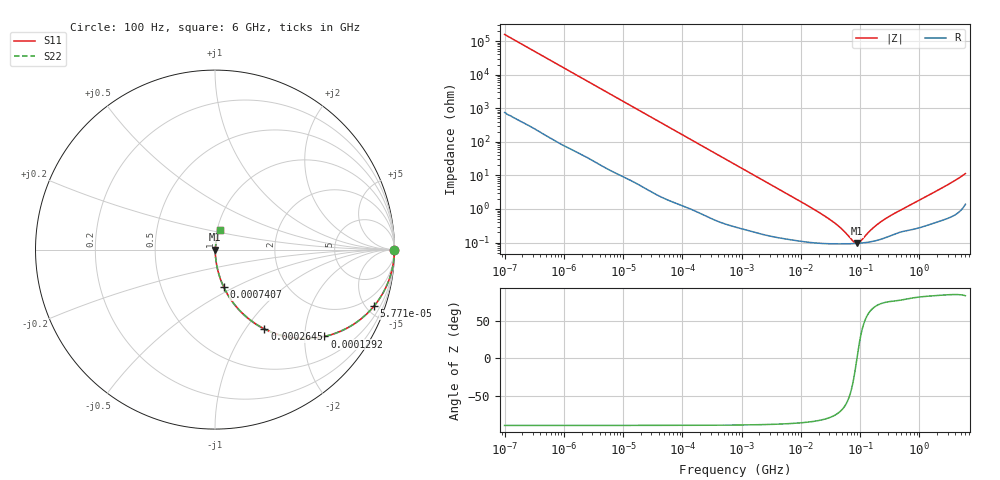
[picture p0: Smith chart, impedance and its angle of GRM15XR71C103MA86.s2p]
!Murata Part Number: GRM15XR71C103MA86
!These Parameters are Measured in Series Mode Connection
!Data Generated on Mar 30, 2021
!  o--ll--o
!Port1  Port2
!  o------o
!Operation Temp=25[degC], DC Bias Voltage=0[V]
!Freq. Start=100[Hz] Stop=6[GHz] 401[Steps]
# Hz S RI R 50
!Freq.(Hz) S11(Real) S11(Imag) S21(Real) S21(Imag) S12(Real) S12(Imag) S22(Real) S22(Imag)
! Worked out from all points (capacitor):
!   401 points, 100 Hz to 6 GHz, reference 50 ohm
!   read as one part in series: C = 10.1 nF near 109 Hz
!   lowest |Z| = 94.3 mohm at 89.18 MHz (marker M1)
!   series resonance near 88.74 MHz, so ESL is about 320 pH
!   S11 on the Smith chart (normalised r, x): 100 Hz: open; 57.71 kHz: 1.04, -5.59; 129.2 kHz: 1.02, -2.50; 264.5 kHz: 1.01, -1.23; 740.7 kHz: 1.01, -0.44; 6 GHz: 1.03, +0.23
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100  1 -0.000633  3.4e-06 0.000633  3.4e-06 0.000633  1 -0.000633
2008  0.9998 -0.0126  0.000225 0.0126  0.000225 0.0126  0.9998 -0.0126
12041  0.994 -0.0746  0.00604 0.0746  0.00604 0.0746  0.994 -0.0746
40335  0.9397 -0.235  0.0603 0.235  0.0603 0.235  0.9397 -0.235
57709  0.8848 -0.316  0.1152 0.316  0.1152 0.316  0.8848 -0.316
86348  0.7758 -0.4134  0.2242 0.4134  0.2242 0.4134  0.7758 -0.4134
129199  0.6096 -0.4837  0.3904 0.4837  0.3904 0.4837  0.6096 -0.4837
184852  0.4352 -0.4913  0.5648 0.4913  0.5648 0.4913  0.4352 -0.4913
264476  0.2757 -0.4421  0.7243 0.4421  0.7243 0.4421  0.2757 -0.4421
432798  0.1265 -0.3271  0.8735 0.3271  0.8735 0.3271  0.1265 -0.3271
740679  0.0488 -0.2089  0.9512 0.2089  0.9512 0.2089  0.0488 -0.2089
774597  0.045 -0.2006  0.955 0.2006  0.955 0.2006  0.045 -0.2006
2481164  0.00603 -0.0658  0.994 0.0658  0.994 0.0658  0.00603 -0.0658
1.555665e7  0.0011 -0.0104  0.9989 0.0104  0.9989 0.0104  0.0011 -0.0104
3.80911e7  0.000923 -0.00359  0.9991 0.00359  0.9991 0.00359  0.000923 -0.00359
7.797396e7  0.000929 -0.00049  0.9991 0.00049  0.9991 0.00049  0.000929 -0.00049
8.918374e7  0.000941 1.92e-05  0.9991 -1.92e-05  0.9991 -1.92e-05  0.000941 1.92e-05
1.020051e8  0.000959 0.000527  0.999 -0.000527  0.999 -0.000527  0.000959 0.000527
1.825626e8  0.00114 0.00293  0.9989 -0.00293  0.9989 -0.00293  0.00114 0.00293
3.124326e8  0.00158 0.00583  0.9984 -0.00583  0.9984 -0.00583  0.00158 0.00583
2.048624e9  0.00537 0.0354  0.9946 -0.0354  0.9946 -0.0354  0.00537 0.0354
6e9  0.0256 0.1082  0.9744 -0.1082  0.9744 -0.1082  0.0256 0.1082
